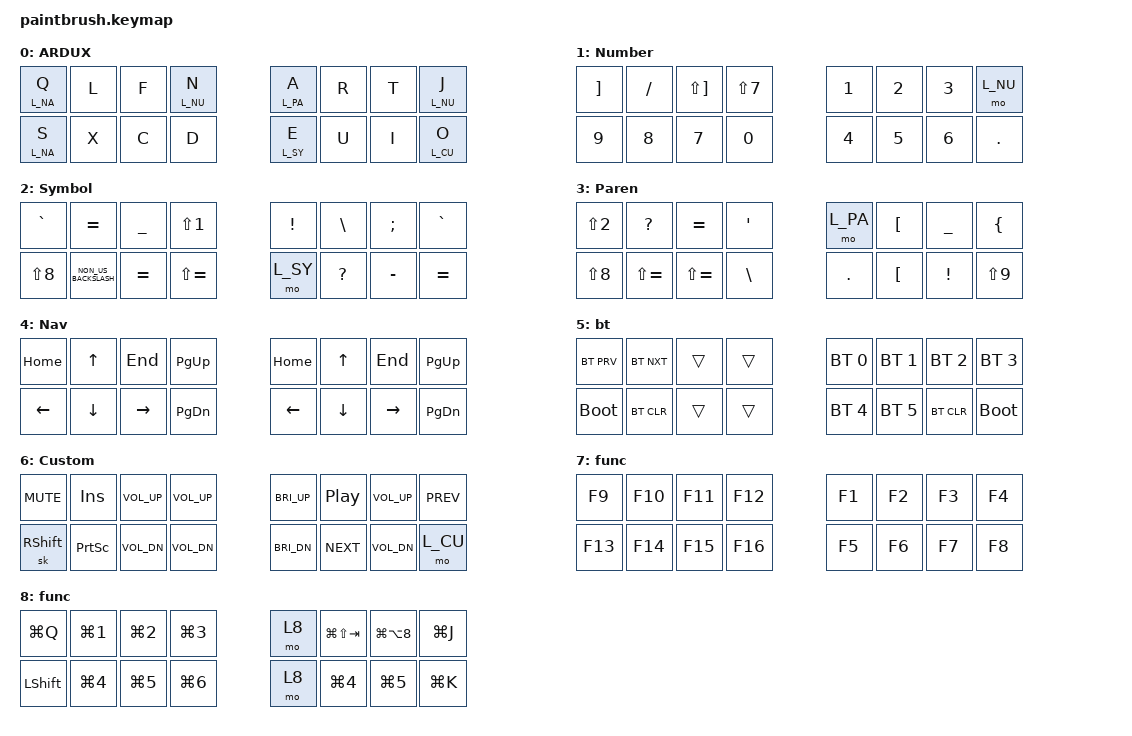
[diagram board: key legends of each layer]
#include <behaviors.dtsi>
#include <dt-bindings/zmk/bt.h>
#include <dt-bindings/zmk/keys.h>

// ARTS Row
#define KEY_A 4
#define KEY_R 5
#define KEY_T 6
#define KEY_S 7
// EYIO Row
#define KEY_E 12
#define KEY_Y 13
#define KEY_I 14
#define KEY_O 15

//#define TIME_2 175
#define TIME_2 50
#define TIME_3 175
#define TIME_4 175
#define TIMEOUT_LAYER_HOLD 200
#define TIMEOUT_STICKY_LEADER_KEY 5000

&sk {
	release-after-ms = <TIMEOUT_STICKY_LEADER_KEY>;
    quick-release;
};
&sl { 
	release-after-ms = <TIMEOUT_STICKY_LEADER_KEY>;
};
 

#define L_BA 0
#define L_NU 1
#define L_SY 2
#define L_PA 3
#define L_NA 4
#define L_BT 5
#define L_CU 6
#define L_FN 7
#define L_RA 8

/ {

//    behaviors {
//        space_mod: tap_dance_0 {
//            compatible = "zmk,behavior-tap-dance";
//            label = "TAP_DANCE_0";
//            #binding-cells = <0>;
//            tapping-term-ms = <300>;
//            bindings = <&lt L_RA SPACE>, <&mt SPACE SPACE>;
//        };

	combos {
		compatible = "zmk,combos";
		/*****************************************
		 * Left//ARDUX combos
		 *****************************************/
		/*****************************************
		 * 2 key combos
		 *****************************************/

	combo_enter      { timeout-ms = <TIME_2>; key-positions = <KEY_S KEY_O>; bindings = <&kp ENTER>; };
	combo_spc        { timeout-ms = <TIME_2>; key-positions = <KEY_A KEY_E>; bindings = <&lt L_RA SPACE>; };
	combo_escape     { timeout-ms = <TIME_2>; key-positions = <KEY_R KEY_Y>; bindings = <&kp ESC>; };
	combo_control    { timeout-ms = <TIME_2>; key-positions = <KEY_E KEY_S>; bindings = <&sk LCTRL>; };
	combo_gui        { timeout-ms = <TIME_2>; key-positions = <KEY_Y KEY_S>; bindings = <&sk LGUI>; };
	combo_alt        { timeout-ms = <TIME_2>; key-positions = <KEY_I KEY_S>; bindings = <&sk LALT>; };
	combo_ralt       { timeout-ms = <TIME_2>; key-positions = <KEY_I KEY_O>; bindings = <&sk RALT>; };
	combo_backspace  { timeout-ms = <TIME_2>; key-positions = <KEY_E KEY_R>; bindings = <&kp BACKSPACE>; };
	combo_delete     { timeout-ms = <TIME_2>; key-positions = <KEY_I KEY_R>; bindings = <&kp DELETE>; };
	combo_shift_lock { timeout-ms = <TIME_2>; key-positions = <KEY_R KEY_Y>; bindings = <&kt LSHFT>; };

	combo_b           { layers = <L_BA>; timeout-ms = <TIME_2>; key-positions = <KEY_E KEY_O>; bindings = <&kp B>; };
	combo_c           { layers = <L_BA>; timeout-ms = <TIME_2>; key-positions = <KEY_E KEY_Y>; bindings = <&kp C>; };
	combo_y           { layers = <L_BA>; timeout-ms = <TIME_2>; key-positions = <KEY_I KEY_O>; bindings = <&kp Y>; };
	combo_f           { layers = <L_BA>; timeout-ms = <TIME_2>; key-positions = <KEY_A KEY_R>; bindings = <&kp F>; };
	combo_g           { layers = <L_BA>; timeout-ms = <TIME_2>; key-positions = <KEY_R KEY_T>; bindings = <&kp G>; };
	combo_u           { layers = <L_BA>; timeout-ms = <TIME_2>; key-positions = <KEY_Y KEY_I>; bindings = <&kp N>; };
	combo_h           { layers = <L_BA>; timeout-ms = <TIME_2>; key-positions = <KEY_E KEY_I>; bindings = <&kp H>; };
	combo_v           { layers = <L_BA>; timeout-ms = <TIME_2>; key-positions = <KEY_R KEY_S>; bindings = <&kp V>; };
	combo_j           { layers = <L_BA>; timeout-ms = <TIME_2>; key-positions = <KEY_T KEY_S>; bindings = <&kp J>; };
	combo_w           { layers = <L_BA>; timeout-ms = <TIME_2>; key-positions = <KEY_A KEY_S>; bindings = <&kp W>; };
	combo_k           { layers = <L_BA>; timeout-ms = <TIME_2>; key-positions = <KEY_Y KEY_O>; bindings = <&kp K>; };
	combo_period     { layers = <L_BA>; timeout-ms = <TIME_2>; key-positions = <KEY_A KEY_Y>; bindings = <&kp PERIOD>; };
	combo_comma       { layers = <L_BA>; timeout-ms = <TIME_2>; key-positions = <KEY_E KEY_T>; bindings = <&kp COMMA>; };
	combo_slash       { layers = <L_BA>; timeout-ms = <TIME_2>; key-positions = <KEY_A KEY_O>; bindings = <&kp SLASH>; };
	combo_exclamation { layers = <L_BA>; timeout-ms = <TIME_2>; key-positions = <KEY_T KEY_I>; bindings = <&key_repeat>; };
	
	combo_seven { layers = <L_NU>; timeout-ms = <TIME_2>; key-positions = <KEY_A KEY_R>; bindings = <&kp N7>; };
	combo_eight { layers = <L_NU>; timeout-ms = <TIME_2>; key-positions = <KEY_R KEY_T>; bindings = <&kp N8>; };
	combo_nine  { layers = <L_NU>; timeout-ms = <TIME_2>; key-positions = <KEY_E KEY_Y>; bindings = <&kp N9>; };
	combo_zero  { layers = <L_NU>; timeout-ms = <TIME_2>; key-positions = <KEY_Y KEY_I>; bindings = <&kp N0>; };

		/*****************************************
		 * 3 key combos
		 *****************************************/
	combo_esc              { timeout-ms = <TIME_3>; key-positions = <KEY_A KEY_R KEY_O>; bindings = <&kp ESC>; };
	combo_layer_navigation { timeout-ms = <TIME_3>; key-positions = <KEY_R KEY_E KEY_I>; bindings = <&tog L_NA>; };

	comboi_m           { layers = <L_BA>; timeout-ms = <TIME_3>; key-positions = <KEY_Y KEY_I KEY_O>; bindings = <&kp M>; };
	combo_d            { layers = <L_BA>; timeout-ms = <TIME_3>; key-positions = <KEY_A KEY_R KEY_T>; bindings = <&kp D>; };
	combo_p            { layers = <L_BA>; timeout-ms = <TIME_3>; key-positions = <KEY_E KEY_I KEY_O>; bindings = <&kp P>; };
	combo_q            { layers = <L_BA>; timeout-ms = <TIME_3>; key-positions = <KEY_A KEY_T KEY_S>; bindings = <&kp Q>; };
	combo_x            { layers = <L_BA>; timeout-ms = <TIME_3>; key-positions = <KEY_R KEY_T KEY_S>; bindings = <&kp X>; };
	combo_l            { layers = <L_BA>; timeout-ms = <TIME_3>; key-positions = <KEY_E KEY_Y KEY_I>; bindings = <&kp L>; };
	combo_single_quote { layers = <L_BA>; timeout-ms = <TIME_3>; key-positions = <KEY_A KEY_Y KEY_I>; bindings = <&kp SQT>; };
		
		/*****************************************
		 * 4 key combos
		 *****************************************/
	combo_tab             { timeout-ms = <TIME_4>; key-positions = <KEY_A KEY_R KEY_T KEY_O>; bindings = <&kp TAB>; };
	combo_space           { timeout-ms = <TIME_4>; key-positions = <KEY_E KEY_Y KEY_I KEY_O>; bindings = <&kp SPACE>; };
	combo_shift           { timeout-ms = <TIME_4>; key-positions = <KEY_E KEY_R KEY_T KEY_S>; bindings = <&sk LSHFT>; };
	combo_layer_bt_select { timeout-ms = <TIME_4>; key-positions = <KEY_A KEY_E KEY_S KEY_O>; bindings = <&tog L_BT>; };
	combo_bt_clr          { timeout-ms = <TIME_4>; key-positions = <KEY_R KEY_Y KEY_T KEY_I>; bindings = <&bt BT_CLR>; };
	combo_func            { timeout-ms = <TIME_4>; key-positions = <KEY_A KEY_E KEY_T KEY_I>; bindings = <&sl 7>; };

	combo_z         { layers = <L_BA>; timeout-ms = <TIME_4>; key-positions = <KEY_A KEY_R KEY_T KEY_S>; bindings = <&kp Z>; };
	combo_caps_lock { layers = <L_BA>; timeout-ms = <TIME_4>; key-positions = <KEY_O KEY_I KEY_Y KEY_A>; bindings = <&kp CAPS>; };
	

		/*****************************************
		 * Right combos
		 *****************************************/
	c_gui        { timeout-ms = <TIME_2>; key-positions = <9 3>;  bindings = <&sk LGUI>; };
	combo_bkspc  { timeout-ms = <TIME_2>; key-positions = <3 11>; bindings = <&kp LC(BACKSPACE)>; };
	combo_dot    { layers = <L_BA>; timeout-ms = <TIME_2>; key-positions = <1 11>; bindings = <&kp PERIOD>; };
	combo_accent { layers = <L_BA>; timeout-ms = <TIME_2>; key-positions = <1 9>;  bindings = <&kp LBKT>; };
	c_m	     { layers = <L_BA>; timeout-ms = <TIME_2>; key-positions = <2 3>;   bindings = <&kp M>; };
	c_b	     { layers = <L_BA>; timeout-ms = <TIME_2>; key-positions = <10 11>; bindings = <&kp B>; };
	c_b2	 { layers = <L_BA>; timeout-ms = <TIME_2>; key-positions = <8 11>;  bindings = <&kp B>; };
	c_v	     { layers = <L_BA>; timeout-ms = <TIME_2>; key-positions = <9 10>;  bindings = <&kp V>; };
	c_h	     { layers = <L_BA>; timeout-ms = <TIME_2>; key-positions = <1 2>;   bindings = <&kp H>; };
	c_w	     { layers = <L_BA>; timeout-ms = <TIME_2>; key-positions = <0 3>;   bindings = <&kp W>; };
	c_y	     { layers = <L_BA>; timeout-ms = <TIME_2>; key-positions = <1 3>;   bindings = <&kp Y>; };
	c_p	     { layers = <L_BA>; timeout-ms = <TIME_2>; key-positions = <9 11>;  bindings = <&kp P>; };
	c_k	     { layers = <L_BA>; timeout-ms = <TIME_2>; key-positions = <8 10>;  bindings = <&kp K>; };


		/*****************************************
		 * Left!Right combos
		 *****************************************/
	c_enter      { timeout-ms = <TIME_2>; key-positions = <3 4>; bindings = <&kp ENTER>; };

	};


       keymap {
                compatible = "zmk,keymap";
                
       		base {
		label = "ARDUX";
		bindings = <
//qQ@       lLł    fFđ    nN”             aAæ         tr¶    tTŧ    kKĸ
&lt L_NA Q  &kp L  &kp F  &lt L_NU N	&lt L_PA A  &kp R  &kp T  &lt L_NU J
//sSß       xX»    cC¢    dDð             eE€         uU↓    iI→    oOø
&lt L_NA S  &kp X  &kp C  &kp D	       	&lt L_SY E  &kp U  &kp I  &lt L_CU O
		>;
		};
		
		numbers {
		label = "Number";
		bindings = <
//+_~    -_̣       **¯ā         //⅞                      1!|      2"@     3#·     
&kp RBKT &kp FSLH &kp LS(RBKT) &kp LS(N7)             &kp N1   &kp N2  &kp N3  &mo L_NU
//7/{    8([      9)]          <>\                      4$~      5%½     6&½     .:·
&kp N9   &kp N8   &kp N7    &kp N0 	           	&kp N4   &kp N5  &kp N6  &kp DOT
		>;
		};

		symbols {
		label = "Symbol";
		bindings = <
//|°¬      ??¿        ¿¡         !!¡                    !!¡       }]        ñÑ~      |°¬
&kp GRAVE  &kp EQUAL  &kp UNDER &kp LS(N1)           	&kp EXCL  &kp BSLH  &kp SEMI  &kp GRAVE
//(™        )±        ¿¡          ¡                               __        '?\       ¿¡
&kp LS(N8) &kp NON_US_BACKSLASH &kp EQUAL  &kp LS(EQUAL)	        &mo L_SY  &kp QMARK &kp MINUS &kp EQUAL

		>;
		};
		parentheticals {
		label = "Paren";
		bindings = <
//}]         __           ¿              {{{[[                       ´          ?          ¨
&kp LS(N2)   &kp QMARK     &kp EQUAL     &kp SQT	    	&mo L_PA &kp LBKT  &kp UNDER  &kp LBRC
//   (         ¡         #£               }}]]                    .:·      ´      !         )
&kp LS(N8) &kp LS(EQUAL) &kp LS(EQUAL) &kp BSLH         &kp DOT  &kp LBKT   &kp EXCL   &kp LS(N9)
		>;
		};
		navigation {
		label = "Nav";
		bindings = <
&kp HOME  &kp UP    &kp END   &kp PG_UP			&kp HOME  &kp UP    &kp END   &kp PG_UP
&kp LEFT  &kp DOWN  &kp RIGHT &kp PG_DN			&kp LEFT  &kp DOWN  &kp RIGHT &kp PG_DN
		>;
		};

		bt {
		bindings = <
&bt BT_PRV  &bt BT_NXT	&trans 	&trans	 	&bt BT_SEL 0 &bt BT_SEL 1 &bt BT_SEL 2 &bt BT_SEL 3	
&bootloader &bt BT_CLR	&trans 	&trans 		&bt BT_SEL 4 &bt BT_SEL 5 &bt BT_CLR &bootloader  	
		>;
		};

		custom {
		label = "Custom";
		bindings = <
&kp C_MUTE &kp INS   &kp C_VOL_UP &kp C_VOL_UP 	 &kp C_BRI_UP &kp C_PP   &kp C_VOL_UP  &kp C_PREV
&sk RSHFT  &kp PSCRN &kp C_VOL_DN &kp C_VOL_DN 	 &kp C_BRI_DN &kp C_NEXT &kp C_VOL_DN  &mo L_CU 
		>;
		};

		function {
		label = "func";
		bindings = <
&kp F9  &kp F10  &kp F11 &kp F12		                 &kp F1  &kp F2  &kp F3 &kp F4
&kp F13  &kp F14  &kp F15 &kp F16		                 &kp F5  &kp F6  &kp F7 &kp F8
		>;
		};
		random {
		label = "func";
		bindings = <
&kp LG(Q)  &kp LG(N1)  &kp LG(N2) &kp LG(N3)	        &mo 8  &kp LG(LS(TAB))  &kp LG(LA(N8)) &kp LG(J)
&kp LSHFT  &kp LG(N4)  &kp LG(N5) &kp LG(N6)            &mo 8  &kp LG(N4)  &kp LG(N5) &kp LG(K)
		>;
		};
	};
};
